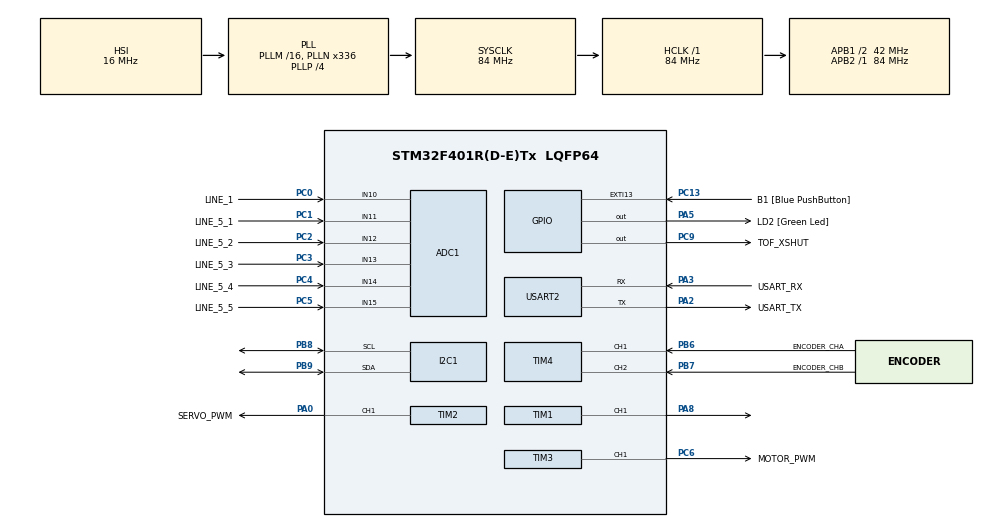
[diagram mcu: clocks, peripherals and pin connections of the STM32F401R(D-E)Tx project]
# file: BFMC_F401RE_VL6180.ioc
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ADC1.Channel-2\#ChannelRegularConversion=ADC_CHANNEL_10
ADC1.NbrOfConversionFlag=1
ADC1.Rank-2\#ChannelRegularConversion=1
ADC1.SamplingTime-2\#ChannelRegularConversion=ADC_SAMPLETIME_3CYCLES
ADC1.master=1
Dma.Request0=USART2_RX
Dma.Request1=USART2_TX
Dma.USART2_RX.0.Direction=DMA_PERIPH_TO_MEMORY
Dma.USART2_RX.0.FIFOMode=DMA_FIFOMODE_DISABLE
Dma.USART2_RX.0.Instance=DMA1_Stream5
Dma.USART2_RX.0.MemDataAlignment=DMA_MDATAALIGN_BYTE
Dma.USART2_RX.0.MemInc=DMA_MINC_ENABLE
Dma.USART2_RX.0.Mode=DMA_CIRCULAR
Dma.USART2_RX.0.PeriphDataAlignment=DMA_PDATAALIGN_BYTE
Dma.USART2_RX.0.PeriphInc=DMA_PINC_DISABLE
Dma.USART2_RX.0.Priority=DMA_PRIORITY_VERY_HIGH
Dma.USART2_TX.1.Direction=DMA_MEMORY_TO_PERIPH
Dma.USART2_TX.1.FIFOMode=DMA_FIFOMODE_DISABLE
Dma.USART2_TX.1.Instance=DMA1_Stream6
Dma.USART2_TX.1.MemDataAlignment=DMA_MDATAALIGN_BYTE
Dma.USART2_TX.1.MemInc=DMA_MINC_ENABLE
Dma.USART2_TX.1.Mode=DMA_NORMAL
Dma.USART2_TX.1.PeriphDataAlignment=DMA_PDATAALIGN_BYTE
Dma.USART2_TX.1.PeriphInc=DMA_PINC_DISABLE
Dma.USART2_TX.1.Priority=DMA_PRIORITY_HIGH
I2C1.I2C_Mode=I2C_Fast
Mcu.Family=STM32F4
Mcu.Name=STM32F401R(D-E)Tx
Mcu.Package=LQFP64
Mcu.UserConstants=PUB_COUNT_MAX,9999;SERVO_PWM_COUNT_MAX,39999;SERVO_PRESCALER,41;ENC_COUNT_MAX,999;MOT_PRESCALER,41;ENC_PRESCALER,83;RASPI_UART_BAUD,1000000;PUB_PRESCALER,83;MOT_PWM_COUNT_MAX,39999
NVIC.DMA1_Stream5_IRQn=true\:0\:0\:false\:false\:true\:false\:true\:true
NVIC.DMA1_Stream6_IRQn=true\:0\:0\:false\:false\:true\:false\:true\:true
NVIC.EXTI15_10_IRQn=true\:0\:0\:false\:false\:true\:true\:true\:true
NVIC.PriorityGroup=NVIC_PRIORITYGROUP_0
NVIC.USART2_IRQn=true\:0\:0\:false\:false\:true\:true\:true\:true
PA0-WKUP.GPIO_Label=SERVO_PWM
PA0-WKUP.Signal=S_TIM2_CH1_ETR
PA1.GPIO_Label=LINE_SENSOR_RIGHT
PA1.Signal=ADCx_IN1
PA13.GPIO_Label=TMS
PA13.Mode=Serial_Wire
PA13.Signal=SYS_JTMS-SWDIO
PA14.GPIO_Label=TCK
PA14.Mode=Serial_Wire
PA14.Signal=SYS_JTCK-SWCLK
PA2.GPIO_Label=USART_TX
PA2.GPIO_Mode=GPIO_MODE_AF_PP
PA2.GPIO_PuPd=GPIO_NOPULL
PA2.GPIO_Speed=GPIO_SPEED_FREQ_LOW
PA2.Mode=Asynchronous
PA2.Signal=USART2_TX
PA3.GPIO_Label=USART_RX
PA3.GPIO_Mode=GPIO_MODE_AF_PP
PA3.GPIO_PuPd=GPIO_NOPULL
PA3.GPIO_Speed=GPIO_SPEED_FREQ_LOW
PA3.Mode=Asynchronous
PA3.Signal=USART2_RX
PA5.GPIO_Label=LD2 [Green Led]
PA5.GPIO_Mode=GPIO_MODE_OUTPUT_PP
PA5.GPIO_PuPd=GPIO_NOPULL
PA5.GPIO_Speed=GPIO_SPEED_FREQ_LOW
PA5.Signal=GPIO_Output
PA8.Signal=S_TIM1_CH1
PB3.GPIO_Label=SWO
PB3.Signal=SYS_JTDO-SWO
PB6.GPIO_Label=ENCODER_CHA
PB6.Signal=S_TIM4_CH1
PB7.GPIO_Label=ENCODER_CHB
PB7.Signal=S_TIM4_CH2
PB8.Mode=I2C
PB8.Signal=I2C1_SCL
PB9.Mode=I2C
PB9.Signal=I2C1_SDA
PC0.GPIO_Label=LINE_1
PC0.Signal=ADCx_IN10
PC1.GPIO_Label=LINE_5_1
PC1.Signal=ADCx_IN11
PC13-ANTI_TAMP.GPIO_Label=B1 [Blue PushButton]
PC13-ANTI_TAMP.GPIO_ModeDefaultEXTI=GPIO_MODE_IT_RISING
PC13-ANTI_TAMP.GPIO_PuPd=GPIO_NOPULL
PC13-ANTI_TAMP.Signal=GPXTI13
PC14-OSC32_IN.Mode=LSE-External-Oscillator
PC14-OSC32_IN.Signal=RCC_OSC32_IN
PC15-OSC32_OUT.Mode=LSE-External-Oscillator
PC15-OSC32_OUT.Signal=RCC_OSC32_OUT
PC2.GPIO_Label=LINE_5_2
PC2.Signal=ADCx_IN12
PC3.GPIO_Label=LINE_5_3
PC3.Signal=ADCx_IN13
PC4.GPIO_Label=LINE_5_4
PC4.Signal=ADCx_IN14
PC5.GPIO_Label=LINE_5_5
PC5.Signal=ADCx_IN15
PC6.GPIO_Label=MOTOR_PWM
PC6.Signal=S_TIM3_CH1
PC9.GPIO_Label=TOF_XSHUT
PC9.Signal=GPIO_Output
PH0\ -\ OSC_IN.Mode=HSE-External-Clock-Source
PH0\ -\ OSC_IN.Signal=RCC_OSC_IN
PH1\ -\ OSC_OUT.Mode=HSE-External-Clock-Source
PH1\ -\ OSC_OUT.Signal=RCC_OSC_OUT
ProjectManager.HeapSize=0x200
ProjectManager.StackSize=0x400
ProjectManager.TargetToolchain=STM32CubeIDE
RCC.48MHZClocksFreq_Value=48000000
RCC.AHBFreq_Value=84000000
RCC.APB1CLKDivider=RCC_HCLK_DIV2
RCC.APB1Freq_Value=42000000
RCC.APB1TimFreq_Value=84000000
RCC.APB2Freq_Value=84000000
RCC.APB2TimFreq_Value=84000000
RCC.CortexFreq_Value=84000000
RCC.HCLKFreq_Value=84000000
RCC.HSE_VALUE=8000000
RCC.HSI_VALUE=16000000
RCC.PLLN=336
RCC.PLLP=RCC_PLLP_DIV4
RCC.PLLQ=7
RCC.SYSCLKFreq_VALUE=84000000
RCC.SYSCLKSource=RCC_SYSCLKSOURCE_PLLCLK
RCC.VCOOutputFreq_Value=336000000
SH.ADCx_IN1.0=ADC1_IN1
SH.ADCx_IN10.0=ADC1_IN10,IN10
SH.ADCx_IN11.0=ADC1_IN11,IN11
SH.ADCx_IN12.0=ADC1_IN12,IN12
SH.ADCx_IN13.0=ADC1_IN13,IN13
SH.ADCx_IN14.0=ADC1_IN14,IN14
SH.ADCx_IN15.0=ADC1_IN15,IN15
SH.S_TIM1_CH1.0=TIM1_CH1,PWM Generation1 CH1
SH.S_TIM2_CH1_ETR.0=TIM2_CH1,PWM Generation1 CH1
SH.S_TIM3_CH1.0=TIM3_CH1,PWM Generation1 CH1
SH.S_TIM4_CH1.0=TIM4_CH1,Encoder_Interface
SH.S_TIM4_CH2.0=TIM4_CH2,Encoder_Interface
TIM1.AutoReloadPreload=TIM_AUTORELOAD_PRELOAD_ENABLE
TIM1.Channel-PWM\ Generation1\ CH1=TIM_CHANNEL_1
TIM1.Period=999
TIM1.Prescaler=83
TIM10.Period=PUB_COUNT_MAX
TIM10.Prescaler=PUB_PRESCALER
TIM11.Period=ENC_COUNT_MAX
TIM11.Prescaler=ENC_PRESCALER
TIM2.Channel-PWM\ Generation1\ CH1=TIM_CHANNEL_1
TIM2.OCFastMode_PWM-PWM\ Generation1\ CH1=TIM_OCFAST_ENABLE
TIM2.Period=SERVO_PWM_COUNT_MAX
TIM2.Prescaler=SERVO_PRESCALER
TIM3.Channel-PWM\ Generation1\ CH1=TIM_CHANNEL_1
TIM3.Channel-PWM\ Generation2\ CH2=TIM_CHANNEL_2
TIM3.OCFastMode_PWM-PWM\ Generation1\ CH1=TIM_OCFAST_ENABLE
TIM3.Period=MOT_PWM_COUNT_MAX
TIM3.Prescaler=MOT_PRESCALER
TIM4.EncoderMode=TIM_ENCODERMODE_TI1
TIM4.IC1Polarity=TIM_ICPOLARITY_RISING
TIM4.IC2Polarity=TIM_ICPOLARITY_RISING
USART2.BaudRate=RASPI_UART_BAUD
USART2.VirtualMode=VM_ASYNC
VP_TIM10_VS_ClockSourceINT.Mode=Enable_Timer
VP_TIM11_VS_ClockSourceINT.Mode=Enable_Timer
VP_TIM1_VS_ClockSourceINT.Mode=Internal
board=NUCLEO-F401RE

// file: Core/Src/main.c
/* USER CODE BEGIN Header */
/**
 ******************************************************************************
 * @file           : main.c
 * @brief          : Main program body
 ******************************************************************************
 * @attention
 *
 * Copyright (c) 2025 STMicroelectronics.
 * All rights reserved.
 *
 * This software is licensed under terms that can be found in the LICENSE file
 * in the root directory of this software component.
 * If no LICENSE file comes with this software, it is provided AS-IS.
 *
 ******************************************************************************
 */
/* USER CODE END Header */
#include "main.h"
#include "adc.h"
#include "dma.h"
#include "i2c.h"
#include "tim.h"
#include "usart.h"
#include "gpio.h"

/* USER CODE BEGIN Includes */
#include "string.h"
#include <stdio.h>
#include <stdbool.h>
#include <stdlib.h>
#include <errno.h>

#include "speaker.h"
/* USER CODE END Includes */

void SystemClock_Config(void);

int main(void)
{

	/* MCU Configuration--------------------------------------------------------*/

	/* Reset of all peripherals, Initializes the Flash interface and the Systick. */
	HAL_Init();

	/* Configure the system clock */
	SystemClock_Config();

	/* Initialize all configured peripherals */
	MX_GPIO_Init();
	MX_DMA_Init();
	MX_USART2_UART_Init();
	MX_TIM4_Init();
	MX_TIM10_Init();
	MX_TIM11_Init();
	MX_TIM2_Init();
	MX_TIM3_Init();
	MX_I2C1_Init();
	MX_TIM1_Init();
	MX_ADC1_Init();

	/* USER CODE BEGIN 2 */

	// Melody definitions
	const uint16_t imperialMarch[][2] = {
			{NOTE_A4, 4}, {NOTE_A4, 4}, {NOTE_A4, 4},
			{NOTE_F4, 3}, {NOTE_C5, 4},
			{NOTE_A4, 4}, {NOTE_F4, 3}, {NOTE_C5, 8},
			{NOTE_A4, 2},
			{NOTE_E5, 4}, {NOTE_E5, 4}, {NOTE_E5, 4},
			{NOTE_F5, 3}, {NOTE_C5, 4},
			{NOTE_GS4, 4}, {NOTE_F4, 3}, {NOTE_C5, 8},
			{NOTE_A4, 2}
	};

	const uint16_t superMario[][2] = {
			{NOTE_E5, 8}, {NOTE_E5, 8}, {NOTE_REST, 8}, {NOTE_E5, 8},
			{NOTE_REST, 8}, {NOTE_C5, 8}, {NOTE_E5, 8},
			{NOTE_G5, 4}, {NOTE_REST, 4},
			{NOTE_G4, 8}, {NOTE_REST, 4},
			{NOTE_C5, 8}, {NOTE_G4, 8}, {NOTE_E4, 8},
			{NOTE_A4, 4}, {NOTE_B4, 4}, {NOTE_AS4, 8}, {NOTE_A4, 4},
			{NOTE_G4, 8}, {NOTE_E5, 4}, {NOTE_G5, 4}, {NOTE_A5, 4},
			{NOTE_F5, 8}, {NOTE_G5, 8},
			{NOTE_REST, 8}, {NOTE_E5, 4}, {NOTE_C5, 8}, {NOTE_D5, 8}, {NOTE_B4, 4}
	};

	const uint16_t odeToJoy[][2] = {
			{NOTE_E4, 4}, {NOTE_E4, 4}, {NOTE_F4, 4}, {NOTE_G4, 4},
			{NOTE_G4, 4}, {NOTE_F4, 4}, {NOTE_E4, 4}, {NOTE_D4, 4},
			{NOTE_C4, 4}, {NOTE_C4, 4}, {NOTE_D4, 4}, {NOTE_E4, 4},
			{NOTE_E4, 6}, {NOTE_D4, 2}, {NOTE_D4, 2},

			{NOTE_E4, 4}, {NOTE_E4, 4}, {NOTE_F4, 4}, {NOTE_G4, 4},
			{NOTE_G4, 4}, {NOTE_F4, 4}, {NOTE_E4, 4}, {NOTE_D4, 4},
			{NOTE_C4, 4}, {NOTE_C4, 4}, {NOTE_D4, 4}, {NOTE_E4, 4},
			{NOTE_D4, 6}, {NOTE_C4, 2}, {NOTE_C4, 2}
	};

	// Start PWM
	HAL_TIM_PWM_Start(&htim1, TIM_CHANNEL_1);
	//HAL_TIM_PWM_Stop(&htim1, TIM_CHANNEL_1);  // Stop sound
	uint8_t playMusic = 0;

	playOdeToJoy();

	/* USER CODE END 2 */

	/* Infinite loop */
	/* USER CODE BEGIN WHILE */
	while (0) {

		if (playMusic) {

			playTone(1000, 500);  // Play 1kHz tone for 500ms
			playTone(2000, 500);  // Play 2kHz tone for 500ms
			HAL_Delay(1000);

			for(int i=0; i<5; i++) {
				playClick(100);
				HAL_Delay(100);
			}

			//playMelody(imperialMarch, sizeof(imperialMarch) / sizeof(imperialMarch[0]), 150);
			HAL_Delay(1000);

			for(int i=0; i<5; i++) {
				playClick(100);
				HAL_Delay(100);
			}

			//playMelody(superMario, sizeof(superMario) / sizeof(superMario[0]), 240);
			HAL_Delay(1000);

			for(int i=0; i<5; i++) {
				playClick(100);
				HAL_Delay(100);
			}

			//playMelody(odeToJoy, sizeof(odeToJoy) / sizeof(odeToJoy[0]), 130);
			HAL_Delay(1000);

			policeSiren(3);  // Play police siren twice
			//HAL_Delay(1000);

			// Play 5 quick clicks
			for(int i=0; i<5; i++) {
				playClick(100);
				HAL_Delay(100);
			}
		}
		HAL_Delay(3000);

	}
	/* USER CODE END WHILE */

}

void SystemClock_Config(void)
{
	RCC_OscInitTypeDef RCC_OscInitStruct = {0};
	RCC_ClkInitTypeDef RCC_ClkInitStruct = {0};

	/** Configure the main internal regulator output voltage
	 */
	__HAL_RCC_PWR_CLK_ENABLE();
	__HAL_PWR_VOLTAGESCALING_CONFIG(PWR_REGULATOR_VOLTAGE_SCALE2);

	/** Initializes the RCC Oscillators according to the specified parameters
	 * in the RCC_OscInitTypeDef structure.
	 */
	RCC_OscInitStruct.OscillatorType = RCC_OSCILLATORTYPE_HSI;
	RCC_OscInitStruct.HSIState = RCC_HSI_ON;
	RCC_OscInitStruct.HSICalibrationValue = RCC_HSICALIBRATION_DEFAULT;
	RCC_OscInitStruct.PLL.PLLState = RCC_PLL_ON;
	RCC_OscInitStruct.PLL.PLLSource = RCC_PLLSOURCE_HSI;
	RCC_OscInitStruct.PLL.PLLM = 16;
	RCC_OscInitStruct.PLL.PLLN = 336;
	RCC_OscInitStruct.PLL.PLLP = RCC_PLLP_DIV4;
	RCC_OscInitStruct.PLL.PLLQ = 7;
	if (HAL_RCC_OscConfig(&RCC_OscInitStruct) != HAL_OK)
	{
		Error_Handler();
	}

	/** Initializes the CPU, AHB and APB buses clocks
	 */
	RCC_ClkInitStruct.ClockType = RCC_CLOCKTYPE_HCLK|RCC_CLOCKTYPE_SYSCLK
			|RCC_CLOCKTYPE_PCLK1|RCC_CLOCKTYPE_PCLK2;
	RCC_ClkInitStruct.SYSCLKSource = RCC_SYSCLKSOURCE_PLLCLK;
	RCC_ClkInitStruct.AHBCLKDivider = RCC_SYSCLK_DIV1;
	RCC_ClkInitStruct.APB1CLKDivider = RCC_HCLK_DIV2;
	RCC_ClkInitStruct.APB2CLKDivider = RCC_HCLK_DIV1;

	if (HAL_RCC_ClockConfig(&RCC_ClkInitStruct, FLASH_LATENCY_2) != HAL_OK)
	{
		Error_Handler();
	}
}

/* USER CODE BEGIN 4 */
int _write(int file, char *ptr, int len)
{
	int DataIdx;

	for (DataIdx = 0; DataIdx < len; DataIdx++)
	{
		ITM_SendChar(*ptr++);
	}
	return len;
}
/* USER CODE END 4 */

void Error_Handler(void)
{
	__disable_irq();
	while (1)
	{
	}
}
